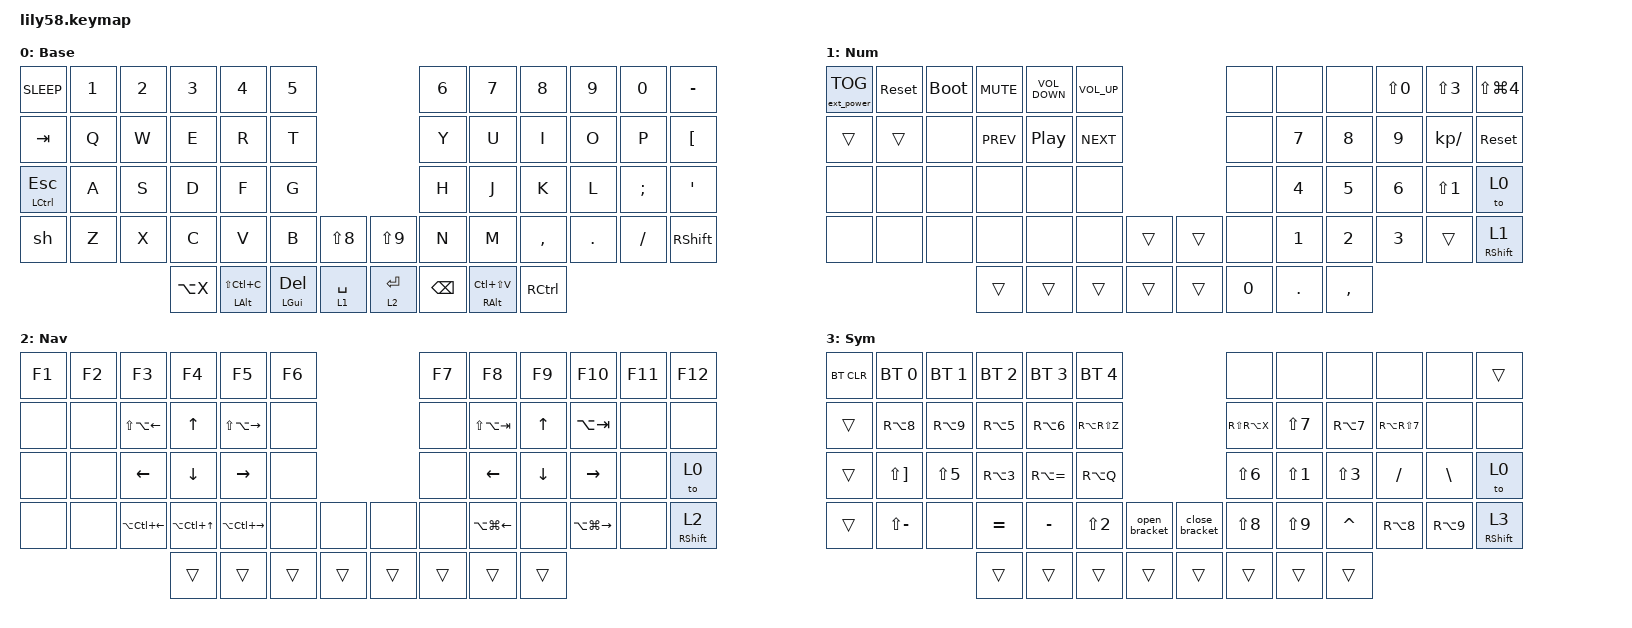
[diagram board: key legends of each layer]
/*
 * Copyright (c) 2020 The ZMK Contributors
 *
 * SPDX-License-Identifier: MIT
 */

#include <behaviors.dtsi>
#include <dt-bindings/zmk/bt.h>
#include <dt-bindings/zmk/ext_power.h>
#include <dt-bindings/zmk/keys.h>

/ {
    behaviors {
        lh: layer_hold {
            compatible = "zmk,behavior-hold-tap";
            label = "LAYER_HOLD";
            bindings = <&kp>, <&to>;

            #binding-cells = <2>;
            tapping-term-ms = <200>;
        };

        sh: shift_caps {
            compatible = "zmk,behavior-tap-dance";
            label = "SHIFT_CAPS";
            #binding-cells = <0>;
            bindings = <&kp LEFT_SHIFT>, <&kp CAPSLOCK>;

            tapping-term-ms = <200>;
        };

        Apo_Q: Apo_Q {
            compatible = "zmk,behavior-mod-morph";
            label = "APO_Q";
            bindings = <&kp APOSTROPHE>, <&kp QUESTION>;

            #binding-cells = <0>;
            mods = <(MOD_LSFT|MOD_RSFT)>;
        };

        open_bracket: open_bracket {
            compatible = "zmk,behavior-mod-morph";
            label = "OPEN_BRACKET";
            bindings = <&kp RA(N5)>, <&kp RA(N8)>;

            #binding-cells = <0>;
            mods = <(MOD_LSFT|MOD_RSFT)>;
        };

        close_bracket: close_bracket {
            compatible = "zmk,behavior-mod-morph";
            label = "CLOSE_BRACKET";
            bindings = <&kp RA(NUMBER_6)>, <&kp RA(N9)>;

            #binding-cells = <0>;
            mods = <(MOD_LSFT|MOD_RSFT)>;
        };

        my_layer_tap: my_layer_tap {
            compatible = "zmk,behavior-hold-tap";
            label = "MY_LAYER_TAP";
            bindings = <&mo>, <&kp>;

            #binding-cells = <2>;
            tapping-term-ms = <300>;
        };

        win_mac_copy: wmc {
            compatible = "zmk,behavior-tap-dance";
            label = "WMC";
            #binding-cells = <0>;
            bindings = <&mt LEFT_COMMAND LG(C)>, <&kp LC(C)>;
        };

        win_mac_paste: wmp {
            compatible = "zmk,behavior-tap-dance";
            label = "WMP";
            #binding-cells = <0>;
            bindings = <&mt RIGHT_COMMAND LG(V)>, <&kp LC(V)>;
        };
    };

    combos { compatible = "zmk,combos"; };

    macros {
        less_than: less_than {
            compatible = "zmk,behavior-macro";
            #binding-cells = <0>;
            bindings = <&kp LS(DOT) &kp L &kp T>;
            label = "LESS_THAN";
        };

        greater_than: greater_than {
            compatible = "zmk,behavior-macro";
            #binding-cells = <0>;
            bindings = <&kp LS(DOT) &kp G &kp T>;
            label = "GREATER_THAN";
        };
    };

    keymap {
        compatible = "zmk,keymap";

        default_layer {
            // ------------------------------------------------------------------------------------------------------------
            // |  ESC  |  1  |  2  |  3   |  4   |  5   |                   |  6   |  7    |  8    |  9   |   0   |   `   |
            // |  TAB  |  Q  |  W  |  E   |  R   |  T   |                   |  Y   |  U    |  I    |  O   |   P   |   -   |
            // |  CTRL |  A  |  S  |  D   |  F   |  G   |                   |  H   |  J    |  K    |  L   |   ;   |   '   |
            // | SHIFT |  Z  |  X  |  C   |  V   |  B   |   "["  |  |  "]"  |  N   |  M    |  ,    |  .   |   /   | SHIFT |
            //                     | ALT  | GUI  | LOWER|  SPACE |  | ENTER | RAISE| BSPC  | GUI   |

            label = "Base";
            bindings = <
&kp C_SLEEP              &kp N1  &kp N2  &kp N3     &kp N4                  &kp N5                                                               &kp N6         &kp N7                   &kp N8             &kp N9   &kp N0    &kp MINUS
&kp TAB                  &kp Q   &kp W   &kp E      &kp R                   &kp T                                                                &kp Y          &kp U                    &kp I              &kp O    &kp P     &kp LEFT_BRACKET
&mt LEFT_CONTROL ESCAPE  &kp A   &kp S   &kp D      &kp F                   &kp G                                                                &kp H          &kp J                    &kp K              &kp L    &kp SEMI  &kp SQT
&sh                      &kp Z   &kp X   &kp C      &kp V                   &kp B                &kp LS(N8)               &kp LS(N9)             &kp N          &kp M                    &kp COMMA          &kp DOT  &kp FSLH  &kp RSHFT
                                         &kp LA(X)  &mt LEFT_ALT LS(LC(C))  &mt LEFT_GUI DELETE  &my_layer_tap 1 SPACE    &my_layer_tap 2 ENTER  &kp BACKSPACE  &mt RIGHT_ALT LC(LS(V))  &kp RIGHT_CONTROL
            >;
        };

        num {
            // ------------------------------------------------------------------------------------------------------------
            // |       |     |     |      |      |      |                   |      |       |       |      |       |       |
            // |   `   |  1  |  2  |  3   |  4   |  5   |                   |  6   |   7   |   8   |  9   |   0   |       |
            // |   F1  |  F2 |  F3 |  F4  |  F5  |  F6  |                   |      |   <-  |   v   |  ^   |  ->   |       |
            // |   F7  |  F8 |  F9 |  F10 |  F11 |  F12 |        |  |       |  +   |   -   |   =   |  [   |   ]   |   \   |
            //                     |      |      |      |        |  |       |      |       |       |

            label = "Num";
            bindings = <
&ext_power EP_TOG  &sys_reset  &bootloader  &kp C_MUTE  &kp C_VOLUME_DOWN  &kp C_VOLUME_UP                    &none   &none         &none         &kp LS(NUMBER_0)  &kp LS(NUMBER_3)  &kp LS(LG(NUMBER_4))
&trans             &trans      &none        &kp C_PREV  &kp C_PLAY_PAUSE   &kp C_NEXT                         &none   &kp N7        &kp N8        &kp N9            &kp KP_DIVIDE     &sys_reset
&none              &none       &none        &none       &none              &none                              &none   &kp NUMBER_4  &kp N5        &kp NUMBER_6      &kp LS(N1)        &to 0
&none              &none       &none        &none       &none              &none            &trans    &trans  &none   &kp NUMBER_1  &kp NUMBER_2  &kp NUMBER_3      &trans            &lh RIGHT_SHIFT 1
                                            &trans      &trans             &trans           &trans    &trans  &kp N0  &kp DOT       &kp COMMA
            >;
        };

        nav {
            bindings = <
&kp F1  &kp F2  &kp F3            &kp F4                &kp F5             &kp F6                    &kp F7  &kp F8            &kp F9          &kp F10            &kp F11  &kp F12
&none   &none   &kp LS(LA(LEFT))  &kp UP_ARROW          &kp LS(LA(RIGHT))  &none                     &none   &kp LS(LA(TAB))   &kp UP_ARROW    &kp LA(TAB)        &none    &none
&none   &none   &kp LEFT_ARROW    &kp DOWN_ARROW        &kp RIGHT          &none                     &none   &kp LEFT_ARROW    &kp DOWN_ARROW  &kp RIGHT_ARROW    &none    &to 0
&none   &none   &kp LA(LC(LEFT))  &kp LA(LC(UP_ARROW))  &kp LA(LC(RIGHT))  &none   &none     &none   &none   &kp LA(LG(LEFT))  &none           &kp LA(LG(RIGHT))  &none    &lh RIGHT_SHIFT 2
                                  &trans                &trans             &trans  &trans    &trans  &trans  &trans            &trans
            >;

            label = "Nav";
        };

        Symbols {
            // ------------------------------------------------------------------------------------------------------------
            // | BTCLR | BT1 | BT2 |  BT3 |  BT4 |  BT5 |                   |      |       |       |      |       |       |
            // |  F1   |  F2 |  F3 |  F4  |  F5  |  F6  |                   |  F7  |  F8   |  F9   |  F10 |  F11  |  F12  |
            // |   `   |  !  |  @  |  #   |  $   |  %   |                   |  ^   |  &    |  *    |  (   |   )   |   ~   |
            // |       |     |     |      |      |      |        |  |       |      |  _    |  +    |  {   |   }   |  "|"  |
            //                     |      |      |      |        |  |       |      |       |       |

            label = "Sym";
            bindings = <
&bt BT_CLR  &bt BT_SEL 0           &bt BT_SEL 1  &bt BT_SEL 2      &bt BT_SEL 3      &bt BT_SEL 4                                       &none             &none             &none             &none           &none          &trans
&trans      &kp RA(N8)             &kp RA(N9)    &kp RA(N5)        &kp RA(NUMBER_6)  &kp RA(RS(Z))                                      &kp RS(RA(X))     &kp LS(N7)        &kp RA(N7)        &kp RA(RS(N7))  &none          &none
&trans      &kp LS(RIGHT_BRACKET)  &kp LS(N5)    &kp RA(NUMBER_3)  &kp RA(EQUAL)     &kp RA(Q)                                          &kp LS(NUMBER_6)  &kp LS(NUMBER_1)  &kp LS(NUMBER_3)  &kp SLASH       &kp BACKSLASH  &to 0
&trans      &kp LS(MINUS)          &none         &kp EQUAL         &kp MINUS         &kp LS(NUMBER_2)  &open_bracket    &close_bracket  &kp LS(N8)        &kp LS(N9)        &kp CARET         &kp RA(N8)      &kp RA(N9)     &lh RIGHT_SHIFT 3
                                                 &trans            &trans            &trans            &trans           &trans          &trans            &trans            &trans
            >;
        };
    };

    conditional_layers {
        compatible = "zmk,conditional-layers";

        sym {
            if-layers = <1 2>;
            then-layer = <3>;
        };
    };
};
